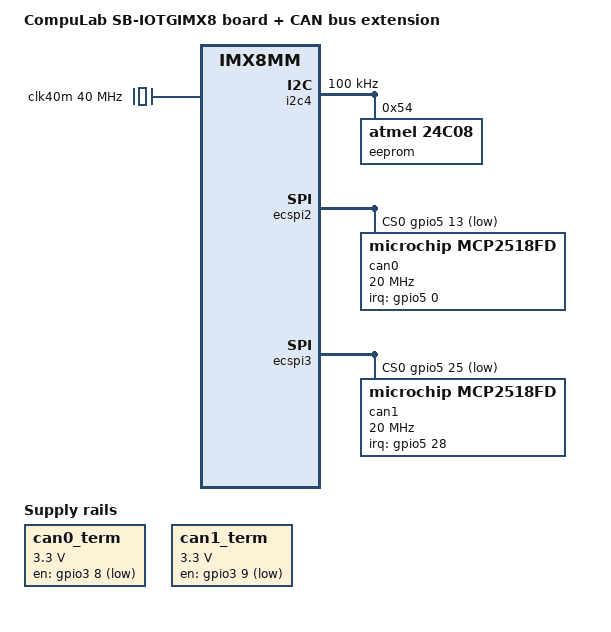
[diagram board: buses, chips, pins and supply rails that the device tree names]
/*
 * Copyright (C) 2020 CompuLab Ltd.
 *
 * This program is free software; you can redistribute it and/or
 * modify it under the terms of the GNU General Public License
 * as published by the Free Software Foundation; either version 2
 * of the License, or (at your option) any later version.
 *
 * This program is distributed in the hope that it will be useful,
 * but WITHOUT ANY WARRANTY; without even the implied warranty of
 * MERCHANTABILITY or FITNESS FOR A PARTICULAR PURPOSE. See the
 * GNU General Public License for more details.
 */

#include "sb-iotgimx8.dts"

/ {
	model = "CompuLab SB-IOTGIMX8 board + CAN bus extension";
	compatible = "sb-iotgimx8-can", "sb-iotgimx8", "cpl,ucm-imx8m-mini", "fsl,imx8mm";

	clocks {
		#address-cells = <1>;
		#size-cells = <0>;
		clk40m: clk@1 {
			compatible = "fixed-clock";
			reg = <1>;
			#clock-cells = <0>;
			clock-frequency = <40000000>;
			clock-output-names = "clk40m";
		};
	};

	regulator-can0term {
		compatible = "regulator-fixed";
		regulator-name = "can0_term";
		regulator-min-microvolt = <3300000>;
		regulator-max-microvolt = <3300000>;
		gpio = <&gpio3 8 GPIO_ACTIVE_LOW>;
		regulator-always-on;
		enable-active-low;
	};

	regulator-can1term {
		compatible = "regulator-fixed";
		regulator-name = "can1_term";
		regulator-min-microvolt = <3300000>;
		regulator-max-microvolt = <3300000>;
		gpio = <&gpio3 9 GPIO_ACTIVE_LOW>;
		regulator-always-on;
		enable-active-low;
	};
};

&i2c4 {
	clock-frequency = <100000>;
	pinctrl-names = "default";
	pinctrl-0 = <&pinctrl_i2c4>;
	status = "okay";

	eeprom@54 {
		compatible = "atmel,24c08";
		reg = <0x54>;
		pagesize = <16>;
	};
};

&ecspi2 {
	#address-cells = <1>;
	#size-cells = <0>;
	fsl,spi-num-chipselects = <1>;
	pinctrl-names = "default";
	pinctrl-0 = <&pinctrl_ecspi2 &pinctrl_ecspi2_cs>;
	cs-gpios = <&gpio5 13 GPIO_ACTIVE_LOW>;
	status = "okay";

	can0: can@0 {
		compatible = "microchip,mcp2518fd";
		reg = <0>;
		pinctrl-names = "default";
		pinctrl-0 = <&pinctrl_can0>;
		interrupt-parent = <&gpio5>;
		interrupts = <0 IRQ_TYPE_LEVEL_LOW>;
		spi-max-frequency = <20000000>;
		clocks = <&clk40m>;
	};
};

&ecspi3 {
	#address-cells = <1>;
	#size-cells = <0>;
	fsl,spi-num-chipselects = <1>;
	pinctrl-names = "default";
	pinctrl-0 = <&pinctrl_ecspi3 &pinctrl_ecspi3_cs>;
	cs-gpios = <&gpio5 25 GPIO_ACTIVE_LOW>;
	status = "okay";

	can1: can@0 {
		compatible = "microchip,mcp2518fd";
		reg = <0>;
		pinctrl-names = "default";
		pinctrl-0 = <&pinctrl_can1>;
		interrupt-parent = <&gpio5>;
		interrupts = <28 IRQ_TYPE_LEVEL_LOW>;
		spi-max-frequency = <20000000>;
		clocks = <&clk40m>;
	};
};

&iomuxc {
	sb-ucm-imx8-can {
		pinctrl_i2c4: i2c4grp {
			fsl,pins = <
				MX8MM_IOMUXC_I2C4_SCL_I2C4_SCL		0x400001c3
				MX8MM_IOMUXC_I2C4_SDA_I2C4_SDA		0x400001c3
			>;
		};

		pinctrl_ecspi2: ecspi2grp {
			fsl,pins = <
				MX8MM_IOMUXC_ECSPI2_SCLK_ECSPI2_SCLK	0x02
				MX8MM_IOMUXC_ECSPI2_MOSI_ECSPI2_MOSI	0x02
				MX8MM_IOMUXC_ECSPI2_MISO_ECSPI2_MISO	0x102
			>;
		};

		pinctrl_ecspi2_cs: ecspi2_csgrp {
			fsl,pins = <
				MX8MM_IOMUXC_ECSPI2_SS0_GPIO5_IO13	0x40000
			>;
		};

		pinctrl_ecspi3: ecspi3grp {
			fsl,pins = <
				MX8MM_IOMUXC_UART1_RXD_ECSPI3_SCLK	0x02
				MX8MM_IOMUXC_UART1_TXD_ECSPI3_MOSI	0x02
				MX8MM_IOMUXC_UART2_RXD_ECSPI3_MISO	0x102
			>;
		};

		pinctrl_ecspi3_cs: ecspi3_csgrp {
			fsl,pins = <
				MX8MM_IOMUXC_UART2_TXD_GPIO5_IO25	0x40000
			>;
		};


		pinctrl_can0: can0grp {
			fsl,pins = <
				MX8MM_IOMUXC_SAI3_TXC_GPIO5_IO0		0x00
				MX8MM_IOMUXC_NAND_DATA02_GPIO3_IO8	0x00
			>;
		};

		pinctrl_can1: can1grp {
			fsl,pins = <
				MX8MM_IOMUXC_UART4_RXD_GPIO5_IO28	0x00
				MX8MM_IOMUXC_NAND_DATA03_GPIO3_IO9	0x00
			>;
		};
	};
};
